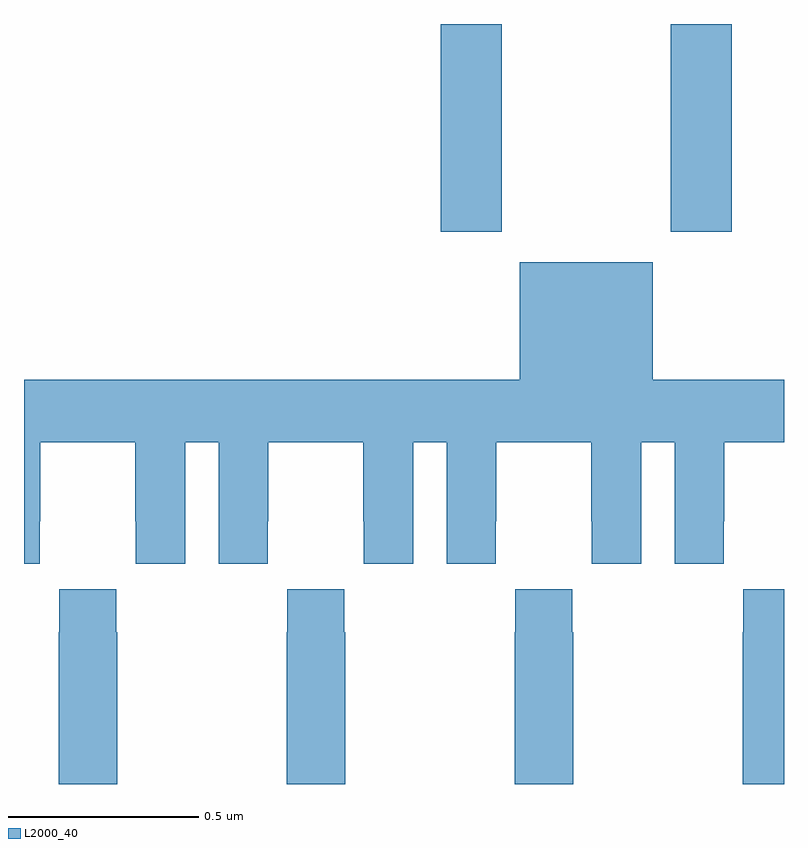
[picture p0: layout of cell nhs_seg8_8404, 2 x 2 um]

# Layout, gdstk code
import gdstk
lib = gdstk.Library(unit=1e-6, precision=1e-09)
def R(c, l, rs):  # rectangles x0, y0, x1, y1
    for r in rs: c.add(gdstk.rectangle(r[:2], r[2:], *l))
def P(c, l, *ps):  # polygons
    for p in ps: c.add(gdstk.Polygon(p, *l))
L2000_40 = (2000, 40)

nhs_seg8_8404 = lib.new_cell('nhs_seg8_8404')
R(nhs_seg8_8404, L2000_40, [(223.097,1150.353,223.257,1150.9), (223.702,1150.353,223.862,1150.9)])
P(nhs_seg8_8404, L2000_40, [(222.042,1149.592),(222.043,1149.592),(222.043,1149.8),(222.293,1149.8),(222.293,1149.592),(222.294,1149.592),(222.294,1149.48),(222.424,1149.48),(222.424,1149.8),(222.512,1149.8),(222.512,1149.48),(222.642,1149.48),(222.642,1149.592),(222.643,1149.592),(222.643,1149.8),(222.893,1149.8),(222.893,1149.592),(222.894,1149.592),(222.894,1149.48),(223.024,1149.48),(223.024,1149.8),(223.112,1149.8),(223.112,1149.48),(223.242,1149.48),(223.242,1149.592),(223.243,1149.592),(223.243,1149.8),(223.493,1149.8),(223.493,1149.592),(223.494,1149.592),(223.494,1149.48),(223.624,1149.48),(223.624,1149.8),(223.712,1149.8),(223.712,1149.48),(223.842,1149.48),(223.842,1149.592),(223.843,1149.592),(223.843,1149.8),(224,1149.8),(224,1149.964),(223.654,1149.964),(223.654,1150.273),(223.304,1150.273),(223.304,1149.964),(222,1149.964),(222,1149.48),(222.042,1149.48)],
  [(222.246,1149.299),(222.243,1149.299),(222.243,1149.412),(222.093,1149.412),(222.093,1149.299),(222.091,1149.299),(222.091,1148.9),(222.246,1148.9)],
  [(222.846,1149.299),(222.843,1149.299),(222.843,1149.412),(222.693,1149.412),(222.693,1149.299),(222.691,1149.299),(222.691,1148.9),(222.846,1148.9)],
  [(223.446,1149.299),(223.443,1149.299),(223.443,1149.412),(223.293,1149.412),(223.293,1149.299),(223.291,1149.299),(223.291,1148.9),(223.446,1148.9)],
  [(224,1149.412),(223.893,1149.412),(223.893,1149.299),(223.891,1149.299),(223.891,1148.9),(224,1148.9)])

lib.write_gds('nhs_seg8_8404.gds')
